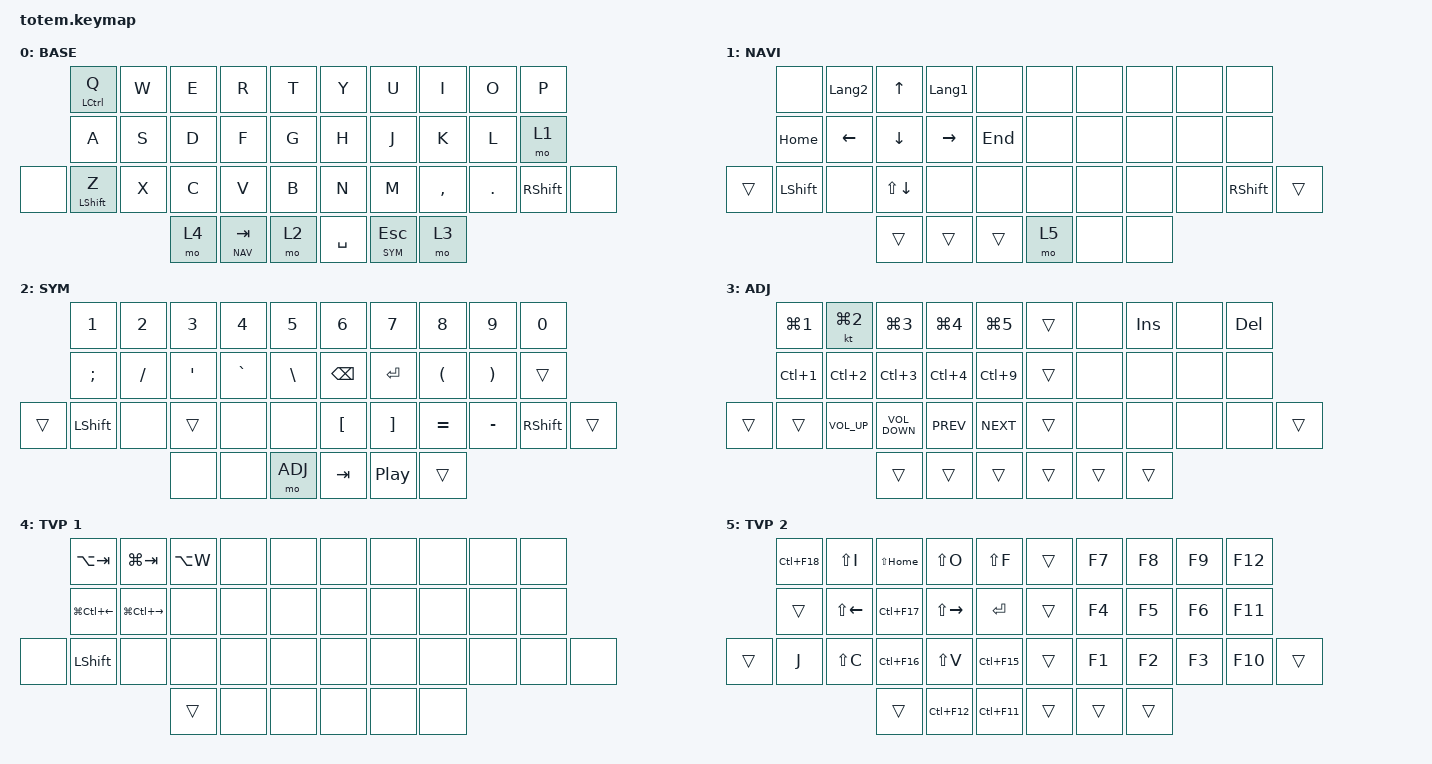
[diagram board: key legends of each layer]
//
//                                                        ▀▀▀▀▀     ▀▀▀▀▀          ▀▀█▀▀
//                                                        ▄▀▀▀▄  ▄  ▄▀▀▀▄  ▄  ▄▀▀▀▄  █  ▄▀▀▀▄
//                                                        █   █  █  █   █  █  █   █  █  █   █
//                                                         ▀▀▀   █   ▀▀▀   █   ▀▀▀   ▀   ▀▀▀
//                                                               █      ▄▄▄█▄▄▄    █   █  
//                                                               ▀      █  █  █     █▄█
//                                                             ▀▀▀▀▀    █  █  █      ▀
//                                                                      ▀  ▀  ▀
//
// ▄▄▄▄▄▄▄▄▄▄▄▄▄▄▄▄▄▄▄▄▄▄▄▄▄▄▄▄▄▄▄▄▄▄▄▄▄▄▄▄▄▄▄▄▄▄▄▄▄▄▄▄▄▄▄▄▄▄▄▄▄▄▄▄▄▄▄▄▄▄▄▄▄▄▄▄▄▄▄▄▄▄▄▄▄▄▄▄▄▄▄▄▄▄▄▄▄▄▄▄▄▄▄▄▄▄▄▄▄▄▄▄▄▄▄▄▄▄▄▄▄▄▄▄▄▄▄▄▄▄▄▄▄▄▄▄▄▄▄▄▄▄▄▄▄▄▄▄▄

#include <behaviors.dtsi>
#include <dt-bindings/zmk/keys.h>

#define BASE 0
#define NAV  1
#define SYM  2
#define ADJ  3
#define TVP1 4
#define TVP2 5

&mt {
    quick-tap-ms = <100>;
    global-quick-tap;
    flavor = "tap-preferred";
    tapping-term-ms = <170>;
};

/ {
    combos {
        compatible = "zmk,combos";

        combo_esc {
            timeout-ms = <50>;
            key-positions = <0 1>;
            bindings = <&kp ESC>;
        };

        combo_tvp {
            timeout-ms = <100>;
            key-positions = <11 12 13>;
            bindings = <&tog TVP1>;
        };
    };

    macros {
        gif: gif {
            label = "giphy";
            compatible = "zmk,behavior-macro";
            #binding-cells = <0>;
            bindings =
                <&macro_press>,
                <&kp LSHFT>,
                <&macro_tap>,
                <&kp N2>,
                <&macro_release>,
                <&kp LSHFT>,
                <&macro_tap>,
                <&kp G &kp I &kp F>;
        };
    };

    keymap {
        compatible = "zmk,keymap";

        // ▄▄▄▄▄▄▄▄▄▄▄▄▄▄▄▄▄▄▄▄▄▄▄▄▄▄▄▄▄▄▄▄▄▄▄▄▄▄▄▄▄▄▄▄▄▄▄▄▄▄▄▄▄▄▄▄▄▄▄▄▄▄▄▄▄▄▄▄▄▄▄▄▄▄▄▄▄▄▄▄▄▄▄▄▄▄▄▄▄▄▄▄▄▄▄▄▄▄▄▄▄▄▄▄▄▄▄▄▄▄▄▄▄▄▄▄▄▄▄▄▄▄▄▄▄▄▄▄▄▄▄▄▄▄▄▄▄▄▄▄▄▄▄▄▄▄▄▄▄

        base_layer {
            // ┏━━━━━━━━━━━━━━━━━━━━━━━━━━━━━━━━━━━━━━━┓

            label = "BASE";

            // ┗━━━━━━━━━━━━━━━━━━━━━━━━━━━━━━━━━━━━━━━┛
            //             ┏━━━━━━━━━━━┳━━━━━━━━━━━┳━━━━━━━━━━━┳━━━━━━━━━━━┳━━━━━━━━━━━┓   ┏━━━━━━━━━━━┳━━━━━━━━━━━┳━━━━━━━━━━━┳━━━━━━━━━━━┳━━━━━━━━━━━┓
            //             ┃     Q     ┃     W     ┃     F     ┃     P     ┃     G     ┃   ┃     J     ┃     L     ┃     U     ┃     Y     ┃     ;     ┃
            //             ┣━━━━━━━━━━━╋━━━━━━━━━━━╋━━━━━━━━━━━╋━━━━━━━━━━━╋━━━━━━━━━━━┫   ┣━━━━━━━━━━━╋━━━━━━━━━━━╋━━━━━━━━━━━╋━━━━━━━━━━━╋━━━━━━━━━━━┫
            //             ┃     A     ┃     R     ┃     S     ┃     T     ┃     D     ┃   ┃     H     ┃     N     ┃     E     ┃     I     ┃     O     ┃
            // ┏━━━━━━━━━━━╋━━━━━━━━━━━╋━━━━━━━━━━━╋━━━━━━━━━━━╋━━━━━━━━━━━╋━━━━━━━━━━━┫   ┣━━━━━━━━━━━╋━━━━━━━━━━━╋━━━━━━━━━━━╋━━━━━━━━━━━╋━━━━━━━━━━━╋━━━━━━━━━━━┓
            // ┃     Q     ┃     Z     ┃     X     ┃     C     ┃     V     ┃     B     ┃   ┃     K     ┃     M     ┃     ,     ┃     .     ┃     /     ┃     \     ┃
            // ┗━━━━━━━━━━━┻━━━━━━━━━━━┻━━━━━━━━━━━╋━━━━━━━━━━━╋━━━━━━━━━━━╋━━━━━━━━━━━┫   ┣━━━━━━━━━━━╋━━━━━━━━━━━╋━━━━━━━━━━━╋━━━━━━━━━━━┻━━━━━━━━━━━┻━━━━━━━━━━━┛
            //                                     ┃    DEL    ┃    TAB    ┃    SPC    ┃   ┃   ENTER   ┃           ┃   BSPC    ┃
            //                                     ┗━━━━━━━━━━━┻━━━━━━━━━━━┻━━━━━━━━━━━┛   ┗━━━━━━━━━━━┻━━━━━━━━━━━┻━━━━━━━━━━━┛

            bindings = <
       &mt LCTRL Q  &kp W  &kp E  &kp R        &kp T    &kp Y      &kp U        &kp I      &kp O    &kp P
       &kp A        &kp S  &kp D  &kp F        &kp G    &kp H      &kp J        &kp K      &kp L    &mo 1
&none  &mt LSHFT Z  &kp X  &kp C  &kp V        &kp B    &kp N      &kp M        &kp COMMA  &kp DOT  &kp RSHIFT  &none
                           &mo 4  &lt NAV TAB  &mo 2    &kp SPACE  &lt SYM ESC  &mo 3
            >;
        };

        // ▄▄▄▄▄▄▄▄▄▄▄▄▄▄▄▄▄▄▄▄▄▄▄▄▄▄▄▄▄▄▄▄▄▄▄▄▄▄▄▄▄▄▄▄▄▄▄▄▄▄▄▄▄▄▄▄▄▄▄▄▄▄▄▄▄▄▄▄▄▄▄▄▄▄▄▄▄▄▄▄▄▄▄▄▄▄▄▄▄▄▄▄▄▄▄▄▄▄▄▄▄▄▄▄▄▄▄▄▄▄▄▄▄▄▄▄▄▄▄▄▄▄▄▄▄▄▄▄▄▄▄▄▄▄▄▄▄▄▄▄▄▄▄▄▄▄▄▄▄

        nav_layer {
            // ┏━━━━━━━━━━━━━━━━━━━━━━━━━━━━━━━━━━━━━━━┓

            label = "NAVI";

            // ┗━━━━━━━━━━━━━━━━━━━━━━━━━━━━━━━━━━━━━━━┛
            //             ┏━━━━━━━━━━━┳━━━━━━━━━━━┳━━━━━━━━━━━┳━━━━━━━━━━━┳━━━━━━━━━━━┓   ┏━━━━━━━━━━━┳━━━━━━━━━━━┳━━━━━━━━━━━┳━━━━━━━━━━━┳━━━━━━━━━━━┓
            //             ┃           ┃           ┃     UP    ┃           ┃     {     ┃   ┃     }     ┃     7     ┃     8     ┃     9     ┃     +     ┃
            //             ┣━━━━━━━━━━━╋━━━━━━━━━━━╋━━━━━━━━━━━╋━━━━━━━━━━━╋━━━━━━━━━━━┫   ┣━━━━━━━━━━━╋━━━━━━━━━━━╋━━━━━━━━━━━╋━━━━━━━━━━━╋━━━━━━━━━━━┫
            //             ┃   SHIFT   ┃   LEFT    ┃    DOWN   ┃   RIGHT   ┃     [     ┃   ┃     ]     ┃     4     ┃     5     ┃     6     ┃     -     ┃
            // ┏━━━━━━━━━━━╋━━━━━━━━━━━╋━━━━━━━━━━━╋━━━━━━━━━━━╋━━━━━━━━━━━╋━━━━━━━━━━━┫   ┣━━━━━━━━━━━╋━━━━━━━━━━━╋━━━━━━━━━━━╋━━━━━━━━━━━╋━━━━━━━━━━━╋━━━━━━━━━━━┓
            // ┃           ┃           ┃   P UP    ┃  C LOCK   ┃  P DOWN   ┃     (     ┃   ┃     )     ┃     1     ┃     2     ┃     3     ┃     *     ┃           ┃
            // ┗━━━━━━━━━━━┻━━━━━━━━━━━┻━━━━━━━━━━━╋━━━━━━━━━━━╋━━━━━━━━━━━╋━━━━━━━━━━━┫   ┣━━━━━━━━━━━╋━━━━━━━━━━━╋━━━━━━━━━━━╋━━━━━━━━━━━┻━━━━━━━━━━━┻━━━━━━━━━━━┛
            //                                     ┃           ┃    TAB    ┃    SPC    ┃   ┃    DEL    ┃     0     ┃           ┃
            //                                     ┗━━━━━━━━━━━┻━━━━━━━━━━━┻━━━━━━━━━━━┛   ┗━━━━━━━━━━━┻━━━━━━━━━━━┻━━━━━━━━━━━┛

            bindings = <
        &none       &kp LANGUAGE_2  &kp UP        &kp LANGUAGE_1  &none      &none  &none  &none  &none  &none
        &kp HOME    &kp LEFT        &kp DOWN      &kp RIGHT       &kp END    &none  &none  &none  &none  &none
&trans  &kp LSHIFT  &none           &kp LS(DOWN)  &none           &none      &none  &none  &none  &none  &kp RSHIFT  &trans
                                    &trans        &trans          &trans     &mo 5  &none  &none
            >;
        };

        // ▄▄▄▄▄▄▄▄▄▄▄▄▄▄▄▄▄▄▄▄▄▄▄▄▄▄▄▄▄▄▄▄▄▄▄▄▄▄▄▄▄▄▄▄▄▄▄▄▄▄▄▄▄▄▄▄▄▄▄▄▄▄▄▄▄▄▄▄▄▄▄▄▄▄▄▄▄▄▄▄▄▄▄▄▄▄▄▄▄▄▄▄▄▄▄▄▄▄▄▄▄▄▄▄▄▄▄▄▄▄▄▄▄▄▄▄▄▄▄▄▄▄▄▄▄▄▄▄▄▄▄▄▄▄▄▄▄▄▄▄▄▄▄▄▄▄▄▄▄

        sim_layer {
            // ┏━━━━━━━━━━━━━━━━━━━━━━━━━━━━━━━━━━━━━━━┓

            label = "SYM";

            // ┗━━━━━━━━━━━━━━━━━━━━━━━━━━━━━━━━━━━━━━━┛
            //             ┏━━━━━━━━━━━┳━━━━━━━━━━━┳━━━━━━━━━━━┳━━━━━━━━━━━┳━━━━━━━━━━━┓   ┏━━━━━━━━━━━┳━━━━━━━━━━━┳━━━━━━━━━━━┳━━━━━━━━━━━┳━━━━━━━━━━━┓
            //             ┃     !     ┃     @     ┃     #     ┃     $     ┃     %     ┃   ┃     ˆ     ┃     &     ┃     Ü     ┃     '     ┃     "     ┃
            //             ┣━━━━━━━━━━━╋━━━━━━━━━━━╋━━━━━━━━━━━╋━━━━━━━━━━━╋━━━━━━━━━━━┫   ┣━━━━━━━━━━━╋━━━━━━━━━━━╋━━━━━━━━━━━╋━━━━━━━━━━━╋━━━━━━━━━━━┫
            //             ┃     Ä     ┃           ┃    SZ     ┃           ┃           ┃   ┃   MUTE    ┃   YEN     ┃   EURO    ┃  POUND    ┃     Ö     ┃
            // ┏━━━━━━━━━━━╋━━━━━━━━━━━╋━━━━━━━━━━━╋━━━━━━━━━━━╋━━━━━━━━━━━╋━━━━━━━━━━━┫   ┣━━━━━━━━━━━╋━━━━━━━━━━━╋━━━━━━━━━━━╋━━━━━━━━━━━╋━━━━━━━━━━━╋━━━━━━━━━━━┓
            // ┃           ┃  EMAIL1   ┃  EMAIL2   ┃           ┃           ┃           ┃   ┃   VOL-    ┃   VOL+    ┃   LAST    ┃   NEXT    ┃     \     ┃           ┃
            // ┗━━━━━━━━━━━┻━━━━━━━━━━━┻━━━━━━━━━━━╋━━━━━━━━━━━╋━━━━━━━━━━━╋━━━━━━━━━━━┫   ┣━━━━━━━━━━━╋━━━━━━━━━━━╋━━━━━━━━━━━╋━━━━━━━━━━━┻━━━━━━━━━━━┻━━━━━━━━━━━┛
            //                                     ┃           ┃    GIF    ┃    ADJ    ┃   ┃           ┃           ┃           ┃
            //                                     ┗━━━━━━━━━━━┻━━━━━━━━━━━┻━━━━━━━━━━━┛   ┗━━━━━━━━━━━┻━━━━━━━━━━━┻━━━━━━━━━━━┛

            bindings = <
        &kp NUMBER_1   &kp NUMBER_2  &kp NUMBER_3      &kp NUMBER_4  &kp NUMBER_5     &kp NUMBER_6      &kp NUMBER_7       &kp NUMBER_8          &kp NUMBER_9           &kp NUMBER_0
        &kp SEMICOLON  &kp SLASH     &kp SINGLE_QUOTE  &kp GRAVE     &kp BACKSLASH    &kp BACKSPACE     &kp RETURN         &kp LEFT_PARENTHESIS  &kp RIGHT_PARENTHESIS  &trans
&trans  &kp LSHIFT     &none         &trans            &none         &none            &kp LEFT_BRACKET  &kp RIGHT_BRACKET  &kp EQUAL             &kp MINUS              &kp RIGHT_SHIFT  &trans
                                     &none             &none         &mo ADJ          &kp TAB           &kp C_PP           &trans
            >;
        };

        // ▄▄▄▄▄▄▄▄▄▄▄▄▄▄▄▄▄▄▄▄▄▄▄▄▄▄▄▄▄▄▄▄▄▄▄▄▄▄▄▄▄▄▄▄▄▄▄▄▄▄▄▄▄▄▄▄▄▄▄▄▄▄▄▄▄▄▄▄▄▄▄▄▄▄▄▄▄▄▄▄▄▄▄▄▄▄▄▄▄▄▄▄▄▄▄▄▄▄▄▄▄▄▄▄▄▄▄▄▄▄▄▄▄▄▄▄▄▄▄▄▄▄▄▄▄▄▄▄▄▄▄▄▄▄▄▄▄▄▄▄▄▄▄▄▄▄▄▄▄

        adjust_layer {
            // ┏━━━━━━━━━━━━━━━━━━━━━━━━━━━━━━━━━━━━━━━┓

            label = "ADJ";

            // ┗━━━━━━━━━━━━━━━━━━━━━━━━━━━━━━━━━━━━━━━┛
            //             ┏━━━━━━━━━━━┳━━━━━━━━━━━┳━━━━━━━━━━━┳━━━━━━━━━━━┳━━━━━━━━━━━┓   ┏━━━━━━━━━━━┳━━━━━━━━━━━┳━━━━━━━━━━━┳━━━━━━━━━━━┳━━━━━━━━━━━┓
            //             ┃   RESET   ┃ BT CLEAR  ┃  OUT TOG  ┃           ┃           ┃   ┃           ┃    F7     ┃    F8     ┃    F9     ┃    F12    ┃
            //             ┣━━━━━━━━━━━╋━━━━━━━━━━━╋━━━━━━━━━━━╋━━━━━━━━━━━╋━━━━━━━━━━━┫   ┣━━━━━━━━━━━╋━━━━━━━━━━━╋━━━━━━━━━━━╋━━━━━━━━━━━╋━━━━━━━━━━━┫
            //             ┃ BOOTLOAD  ┃ BT NEXT   ┃           ┃           ┃           ┃   ┃           ┃    F4     ┃    F5     ┃    F6     ┃    F11    ┃
            // ┏━━━━━━━━━━━╋━━━━━━━━━━━╋━━━━━━━━━━━╋━━━━━━━━━━━╋━━━━━━━━━━━╋━━━━━━━━━━━┫   ┣━━━━━━━━━━━╋━━━━━━━━━━━╋━━━━━━━━━━━╋━━━━━━━━━━━╋━━━━━━━━━━━╋━━━━━━━━━━━┓
            // ┃           ┃           ┃ BT PREV   ┃           ┃           ┃           ┃   ┃           ┃    F1     ┃    F2     ┃    F3     ┃    F10    ┃           ┃
            // ┗━━━━━━━━━━━┻━━━━━━━━━━━┻━━━━━━━━━━━╋━━━━━━━━━━━╋━━━━━━━━━━━╋━━━━━━━━━━━┫   ┣━━━━━━━━━━━╋━━━━━━━━━━━╋━━━━━━━━━━━╋━━━━━━━━━━━┻━━━━━━━━━━━┻━━━━━━━━━━━┛
            //                                     ┃           ┃           ┃           ┃   ┃           ┃           ┃           ┃
            //                                     ┗━━━━━━━━━━━┻━━━━━━━━━━━┻━━━━━━━━━━━┛   ┗━━━━━━━━━━━┻━━━━━━━━━━━┻━━━━━━━━━━━┛

            bindings = <
        &kp LG(NUMBER_1)  &kt LG(N2)       &kp LG(N3)         &kp LG(N4)  &kp LG(N5)    &trans  &none   &kp INSERT  &none  &kp DELETE
        &kp LC(N1)        &kp LC(N2)       &kp LC(N3)         &kp LC(N4)  &kp LC(N9)    &trans  &none   &none       &none  &none
&trans  &trans            &kp C_VOLUME_UP  &kp C_VOLUME_DOWN  &kp C_PREV  &kp C_NEXT    &trans  &none   &none       &none  &none       &trans
                                           &trans             &trans      &trans        &trans  &trans  &trans
            >;
        };

        // ▄▄▄▄▄▄▄▄▄▄▄▄▄▄▄▄▄▄▄▄▄▄▄▄▄▄▄▄▄▄▄▄▄▄▄▄▄▄▄▄▄▄▄▄▄▄▄▄▄▄▄▄▄▄▄▄▄▄▄▄▄▄▄▄▄▄▄▄▄▄▄▄▄▄▄▄▄▄▄▄▄▄▄▄▄▄▄▄▄▄▄▄▄▄▄▄▄▄▄▄▄▄▄▄▄▄▄▄▄▄▄▄▄▄▄▄▄▄▄▄▄▄▄▄▄▄▄▄▄▄▄▄▄▄▄▄▄▄▄▄▄▄▄▄▄▄▄▄▄

        tvp1_layer {
            // ┏━━━━━━━━━━━━━━━━━━━━━━━━━━━━━━━━━━━━━━━┓

            label = "TVP 1";

            // ┗━━━━━━━━━━━━━━━━━━━━━━━━━━━━━━━━━━━━━━━┛
            //             ┏━━━━━━━━━━━┳━━━━━━━━━━━┳━━━━━━━━━━━┳━━━━━━━━━━━┳━━━━━━━━━━━┓   ┏━━━━━━━━━━━┳━━━━━━━━━━━┳━━━━━━━━━━━┳━━━━━━━━━━━┳━━━━━━━━━━━┓
            //             ┃ NEXT FILE ┃ MARK IN   ┃ ROTATE    ┃ MARK OUT  ┃ SHOW SNAP ┃   ┃           ┃           ┃           ┃           ┃           ┃
            //             ┣━━━━━━━━━━━╋━━━━━━━━━━━╋━━━━━━━━━━━╋━━━━━━━━━━━╋━━━━━━━━━━━┫   ┣━━━━━━━━━━━╋━━━━━━━━━━━╋━━━━━━━━━━━╋━━━━━━━━━━━╋━━━━━━━━━━━┫
            //             ┃ TVP II    ┃ LEFT      ┃ PAN       ┃ RIGHT     ┃ PLAY/FLIP ┃   ┃           ┃           ┃           ┃           ┃           ┃
            // ┏━━━━━━━━━━━╋━━━━━━━━━━━╋━━━━━━━━━━━╋━━━━━━━━━━━╋━━━━━━━━━━━╋━━━━━━━━━━━┫   ┣━━━━━━━━━━━╋━━━━━━━━━━━╋━━━━━━━━━━━╋━━━━━━━━━━━╋━━━━━━━━━━━╋━━━━━━━━━━━┓
            // ┃ FULLSCR   ┃ SHIFT     ┃ COPY      ┃ DELETE    ┃ PASTE     ┃ IMG MARK  ┃   ┃           ┃           ┃           ┃           ┃           ┃           ┃
            // ┗━━━━━━━━━━━┻━━━━━━━━━━━┻━━━━━━━━━━━╋━━━━━━━━━━━╋━━━━━━━━━━━╋━━━━━━━━━━━┫   ┣━━━━━━━━━━━╋━━━━━━━━━━━╋━━━━━━━━━━━╋━━━━━━━━━━━┻━━━━━━━━━━━┻━━━━━━━━━━━┛
            //                                     ┃           ┃ UNDO/SAVE ┃  SEL/MOV  ┃   ┃           ┃           ┃           ┃
            //                                     ┗━━━━━━━━━━━┻━━━━━━━━━━━┻━━━━━━━━━━━┛   ┗━━━━━━━━━━━┻━━━━━━━━━━━┻━━━━━━━━━━━┛

            bindings = <
       &kp LA(TAB)       &kp LG(TAB)        &kp LA(W)  &none  &none    &none  &none  &none  &none  &none
       &kp LG(LC(LEFT))  &kp LG(LC(RIGHT))  &none      &none  &none    &none  &none  &none  &none  &none
&none  &kp LSHFT         &none              &none      &none  &none    &none  &none  &none  &none  &none  &none
                                            &trans     &none  &none    &none  &none  &none
            >;
        };

        // ▄▄▄▄▄▄▄▄▄▄▄▄▄▄▄▄▄▄▄▄▄▄▄▄▄▄▄▄▄▄▄▄▄▄▄▄▄▄▄▄▄▄▄▄▄▄▄▄▄▄▄▄▄▄▄▄▄▄▄▄▄▄▄▄▄▄▄▄▄▄▄▄▄▄▄▄▄▄▄▄▄▄▄▄▄▄▄▄▄▄▄▄▄▄▄▄▄▄▄▄▄▄▄▄▄▄▄▄▄▄▄▄▄▄▄▄▄▄▄▄▄▄▄▄▄▄▄▄▄▄▄▄▄▄▄▄▄▄▄▄▄▄▄▄▄▄▄▄▄

        tvp2_layer {
            // ┏━━━━━━━━━━━━━━━━━━━━━━━━━━━━━━━━━━━━━━━┓

            label = "TVP 2";

            // ┗━━━━━━━━━━━━━━━━━━━━━━━━━━━━━━━━━━━━━━━┛
            //             ┏━━━━━━━━━━━┳━━━━━━━━━━━┳━━━━━━━━━━━┳━━━━━━━━━━━┳━━━━━━━━━━━┓   ┏━━━━━━━━━━━┳━━━━━━━━━━━┳━━━━━━━━━━━┳━━━━━━━━━━━┳━━━━━━━━━━━┓
            //             ┃ SOLO      ┃ TOGGLE IN ┃ RESET ROT ┃ TOGGLE OUT┃ TAKE SNAP ┃   ┃           ┃           ┃           ┃           ┃           ┃
            //             ┣━━━━━━━━━━━╋━━━━━━━━━━━╋━━━━━━━━━━━╋━━━━━━━━━━━╋━━━━━━━━━━━┫   ┣━━━━━━━━━━━╋━━━━━━━━━━━╋━━━━━━━━━━━╋━━━━━━━━━━━╋━━━━━━━━━━━┫
            //             ┃ ---       ┃ LAST KEY  ┃ NEW KEY   ┃ NEXT KEY  ┃ ENTER     ┃   ┃           ┃           ┃           ┃           ┃           ┃
            // ┏━━━━━━━━━━━╋━━━━━━━━━━━╋━━━━━━━━━━━╋━━━━━━━━━━━╋━━━━━━━━━━━╋━━━━━━━━━━━┫   ┣━━━━━━━━━━━╋━━━━━━━━━━━╋━━━━━━━━━━━╋━━━━━━━━━━━╋━━━━━━━━━━━╋━━━━━━━━━━━┓
            // ┃           ┃ FULLSCR   ┃ CPY2BRUSH ┃ DEL HEAD  ┃ PSTinPLACE┃ BOOK MARK ┃   ┃           ┃           ┃           ┃           ┃           ┃           ┃
            // ┗━━━━━━━━━━━┻━━━━━━━━━━━┻━━━━━━━━━━━╋━━━━━━━━━━━╋━━━━━━━━━━━╋━━━━━━━━━━━┫   ┣━━━━━━━━━━━╋━━━━━━━━━━━╋━━━━━━━━━━━╋━━━━━━━━━━━┻━━━━━━━━━━━┻━━━━━━━━━━━┛
            //                                     ┃           ┃ REDO/SAV1 ┃TRANS/WARP ┃   ┃           ┃           ┃           ┃
            //                                     ┗━━━━━━━━━━━┻━━━━━━━━━━━┻━━━━━━━━━━━┛   ┗━━━━━━━━━━━┻━━━━━━━━━━━┻━━━━━━━━━━━┛

            bindings = <
        &kp LC(F18)  &kp LS(I)     &kp LS(HOME)  &kp LS(O)      &kp LS(F)      &trans  &kp F7  &kp F8  &kp F9  &kp F12
        &trans       &kp LS(LEFT)  &kp LC(F17)   &kp LS(RIGHT)  &kp RET        &trans  &kp F4  &kp F5  &kp F6  &kp F11
&trans  &kp J        &kp LS(C)     &kp LC(F16)   &kp LS(V)      &kp LC(F15)    &trans  &kp F1  &kp F2  &kp F3  &kp F10  &trans
                                   &trans        &kp LC(F12)    &kp LC(F11)    &trans  &trans  &trans
            >;
        };
    };
};
